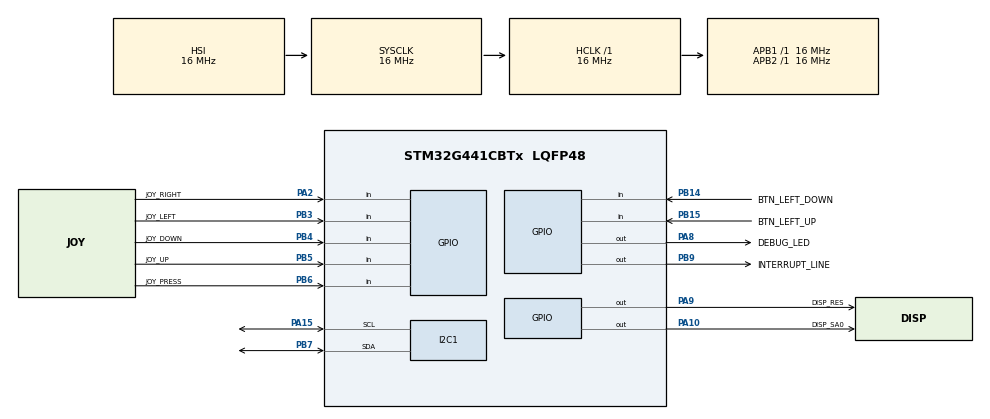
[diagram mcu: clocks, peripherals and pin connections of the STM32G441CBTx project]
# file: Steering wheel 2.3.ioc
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FREERTOS.BinarySemaphores01=ECU_ACK,Dynamic,NULL
FREERTOS.Queues01=ECUQueue,10,struct InputEvent,0,Dynamic,NULL,NULL
FREERTOS.Tasks01=Watchdog,0,128,StartWatchdog,Default,NULL,Dynamic,NULL,NULL;ECUTask,0,128,StartECUTask,Default,NULL,Dynamic,NULL,NULL;InputTask,0,128,StartInputTask,Default,NULL,Dynamic,NULL,NULL
I2C1.OwnAddress=0x20
Mcu.Family=STM32G4
Mcu.Name=STM32G441CBTx
Mcu.Package=LQFP48
NVIC.I2C1_ER_IRQn=true\:5\:0\:false\:false\:true\:true\:true\:true\:true
NVIC.I2C1_EV_IRQn=true\:5\:0\:false\:false\:true\:true\:true\:true\:true
NVIC.PriorityGroup=NVIC_PRIORITYGROUP_4
PA10.GPIO_Label=DISP_SA0
PA10.Signal=GPIO_Output
PA13.Mode=Serial_Wire
PA13.Signal=SYS_JTMS-SWDIO
PA14.Mode=Serial_Wire
PA14.Signal=SYS_JTCK-SWCLK
PA15.Mode=I2C
PA15.Signal=I2C1_SCL
PA2.GPIO_Label=JOY_RIGHT
PA2.Signal=GPIO_Input
PA8.GPIO_Label=DEBUG_LED
PA8.Signal=GPIO_Output
PA9.GPIO_Label=DISP_RES
PA9.Signal=GPIO_Output
PB14.GPIO_Label=BTN_LEFT_DOWN
PB14.Signal=GPIO_Input
PB15.GPIO_Label=BTN_LEFT_UP
PB15.Signal=GPIO_Input
PB3.GPIO_Label=JOY_LEFT
PB3.Signal=GPIO_Input
PB4.GPIO_Label=JOY_DOWN
PB4.Signal=GPIO_Input
PB5.GPIO_Label=JOY_UP
PB5.Signal=GPIO_Input
PB6.GPIO_Label=JOY_PRESS
PB6.Signal=GPIO_Input
PB7.Mode=I2C
PB7.Signal=I2C1_SDA
PB9.GPIO_Label=INTERRUPT_LINE
PB9.Signal=GPIO_Output
ProjectManager.HeapSize=0x200
ProjectManager.StackSize=0x400
ProjectManager.TargetToolchain=STM32CubeIDE
RCC.AHBFreq_Value=16000000
RCC.APB1Freq_Value=16000000
RCC.APB1TimFreq_Value=16000000
RCC.APB2Freq_Value=16000000
RCC.APB2TimFreq_Value=16000000
RCC.CortexFreq_Value=16000000
RCC.EXTERNAL_CLOCK_VALUE=12288000
RCC.HCLKFreq_Value=16000000
RCC.HSE_VALUE=8000000
RCC.HSI48_VALUE=48000000
RCC.HSI_VALUE=16000000
RCC.LSE_VALUE=32768
RCC.SYSCLKFreq_VALUE=16000000
RCC.USBFreq_Value=64000000
RCC.VCOOutputFreq_Value=128000000
VP_FREERTOS_VS_CMSIS_V1.Mode=CMSIS_V1
board=custom

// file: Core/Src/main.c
/* USER CODE BEGIN Header */
/**
 ******************************************************************************
 * @file           : main.c
 * @brief          : Main program body
 ******************************************************************************
 * @attention
 *
 * Copyright (c) 2023 STMicroelectronics.
 * All rights reserved.
 *
 * This software is licensed under terms that can be found in the LICENSE file
 * in the root directory of this software component.
 * If no LICENSE file comes with this software, it is provided AS-IS.
 *
 ******************************************************************************
 */
/* USER CODE END Header */
#include "main.h"
#include "cmsis_os.h"

/* USER CODE BEGIN Includes */
#include <stdio.h>
#include <string.h>
#include <stdbool.h>
/* USER CODE END Includes */

/* USER CODE BEGIN PD */
#define BUFFER_SIZE 2
#define DISPADDR   0x3C << 1
#define JOYSTICK_PRESS_NOT_WORKING 0
/* USER CODE END PD */

I2C_HandleTypeDef hi2c1;

osThreadId WatchdogHandle;
osThreadId ECUTaskHandle;
osThreadId InputTaskHandle;
osMessageQId ECUQueueHandle;
osSemaphoreId ECU_ACKHandle;
/* USER CODE BEGIN PV */
uint8_t dataBuffer[BUFFER_SIZE] = { 0x00, 0x00 };
uint8_t emptyBuffer[BUFFER_SIZE] = { 0x00, 0x00 };
uint8_t rxBuffer = 0;
volatile bool datawaiting = false;
uint32_t countsent = 0;
uint32_t countqueued = 0;

int rxcalls;
int txcalls;

struct InputEvent {
	uint8_t group;
	uint8_t button;
};

enum buttonGroups {
	noGroup = 0x00, JOY = 0x01, BTN = 0x02
};

/* USER CODE END PV */

void SystemClock_Config(void);
static void MX_GPIO_Init(void);
static void MX_I2C1_Init(void);
void StartWatchdog(void const *argument);
void StartECUTask(void const *argument);
void StartInputTask(void const *argument);

/* USER CODE BEGIN PFP */
void lcd_send_data(char data);
void lcd_send_cmd(char cmd);
void lcd_clear();
void lcd_string(char string[80]);
void lcd_init();
/* USER CODE END PFP */

int main(void) {

	/* MCU Configuration--------------------------------------------------------*/

	/* Reset of all peripherals, Initializes the Flash interface and the Systick. */
	HAL_Init();

	/* Configure the system clock */
	SystemClock_Config();

	/* Initialize all configured peripherals */
	MX_GPIO_Init();
	MX_I2C1_Init();

	/* Create the semaphores(s) */
	/* definition and creation of ECU_ACK */
	osSemaphoreDef(ECU_ACK);
	ECU_ACKHandle = osSemaphoreCreate(osSemaphore(ECU_ACK), 1);

	/* Create the queue(s) */
	/* definition and creation of ECUQueue */
	osMessageQDef(ECUQueue, 10, struct InputEvent);
	ECUQueueHandle = osMessageCreate(osMessageQ(ECUQueue), NULL);

	/* Create the thread(s) */
	/* definition and creation of Watchdog */
	osThreadDef(Watchdog, StartWatchdog, osPriorityNormal, 0, 128);
	WatchdogHandle = osThreadCreate(osThread(Watchdog), NULL);

	/* definition and creation of ECUTask */
	osThreadDef(ECUTask, StartECUTask, osPriorityNormal, 0, 128);
	ECUTaskHandle = osThreadCreate(osThread(ECUTask), NULL);

	/* definition and creation of InputTask */
	osThreadDef(InputTask, StartInputTask, osPriorityNormal, 0, 128);
	InputTaskHandle = osThreadCreate(osThread(InputTask), NULL);

	/* Start scheduler */
	osKernelStart();
	/* We should never get here as control is now taken by the scheduler */
	/* Infinite loop */
	while (1) {

	}
}

void SystemClock_Config(void) {
	RCC_OscInitTypeDef RCC_OscInitStruct = { 0 };
	RCC_ClkInitTypeDef RCC_ClkInitStruct = { 0 };

	/** Configure the main internal regulator output voltage
	 */
	HAL_PWREx_ControlVoltageScaling(PWR_REGULATOR_VOLTAGE_SCALE1);

	/** Initializes the RCC Oscillators according to the specified parameters
	 * in the RCC_OscInitTypeDef structure.
	 */
	RCC_OscInitStruct.OscillatorType = RCC_OSCILLATORTYPE_HSI;
	RCC_OscInitStruct.HSIState = RCC_HSI_ON;
	RCC_OscInitStruct.HSICalibrationValue = RCC_HSICALIBRATION_DEFAULT;
	RCC_OscInitStruct.PLL.PLLState = RCC_PLL_NONE;
	if (HAL_RCC_OscConfig(&RCC_OscInitStruct) != HAL_OK) {
		Error_Handler();
	}

	/** Initializes the CPU, AHB and APB buses clocks
	 */
	RCC_ClkInitStruct.ClockType = RCC_CLOCKTYPE_HCLK | RCC_CLOCKTYPE_SYSCLK
			| RCC_CLOCKTYPE_PCLK1 | RCC_CLOCKTYPE_PCLK2;
	RCC_ClkInitStruct.SYSCLKSource = RCC_SYSCLKSOURCE_HSI;
	RCC_ClkInitStruct.AHBCLKDivider = RCC_SYSCLK_DIV1;
	RCC_ClkInitStruct.APB1CLKDivider = RCC_HCLK_DIV1;
	RCC_ClkInitStruct.APB2CLKDivider = RCC_HCLK_DIV1;

	if (HAL_RCC_ClockConfig(&RCC_ClkInitStruct, FLASH_LATENCY_0) != HAL_OK) {
		Error_Handler();
	}
}

static void MX_I2C1_Init(void) {

	hi2c1.Instance = I2C1;
	hi2c1.Init.Timing = 0x00303D5B;
	hi2c1.Init.OwnAddress1 = 64;
	hi2c1.Init.AddressingMode = I2C_ADDRESSINGMODE_7BIT;
	hi2c1.Init.DualAddressMode = I2C_DUALADDRESS_DISABLE;
	hi2c1.Init.OwnAddress2 = 0;
	hi2c1.Init.OwnAddress2Masks = I2C_OA2_NOMASK;
	hi2c1.Init.GeneralCallMode = I2C_GENERALCALL_DISABLE;
	hi2c1.Init.NoStretchMode = I2C_NOSTRETCH_DISABLE;
	if (HAL_I2C_Init(&hi2c1) != HAL_OK) {
		Error_Handler();
	}

	/** Configure Analogue filter
	 */
	if (HAL_I2CEx_ConfigAnalogFilter(&hi2c1, I2C_ANALOGFILTER_ENABLE)
			!= HAL_OK) {
		Error_Handler();
	}

	/** Configure Digital filter
	 */
	if (HAL_I2CEx_ConfigDigitalFilter(&hi2c1, 0) != HAL_OK) {
		Error_Handler();
	}

}

static void MX_GPIO_Init(void) {
	GPIO_InitTypeDef GPIO_InitStruct = { 0 };

	/* GPIO Ports Clock Enable */
	__HAL_RCC_GPIOA_CLK_ENABLE();
	__HAL_RCC_GPIOB_CLK_ENABLE();

	/*Configure GPIO pin Output Level */
	HAL_GPIO_WritePin(GPIOA, DEBUG_LED_Pin | DISP_RES_Pin | DISP_SA0_Pin,
			GPIO_PIN_RESET);

	/*Configure GPIO pin Output Level */
	HAL_GPIO_WritePin(INTERRUPT_LINE_GPIO_Port, INTERRUPT_LINE_Pin,
			GPIO_PIN_RESET);

	/*Configure GPIO pin : JOY_RIGHT_Pin */
	GPIO_InitStruct.Pin = JOY_RIGHT_Pin;
	GPIO_InitStruct.Mode = GPIO_MODE_INPUT;
	GPIO_InitStruct.Pull = GPIO_NOPULL;
	HAL_GPIO_Init(JOY_RIGHT_GPIO_Port, &GPIO_InitStruct);

	/*Configure GPIO pins : BTN_LEFT_DOWN_Pin BTN_LEFT_UP_Pin JOY_LEFT_Pin JOY_DOWN_Pin
	 JOY_UP_Pin JOY_PRESS_Pin */
	GPIO_InitStruct.Pin = BTN_LEFT_DOWN_Pin | BTN_LEFT_UP_Pin | JOY_LEFT_Pin
			| JOY_DOWN_Pin | JOY_UP_Pin | JOY_PRESS_Pin;
	GPIO_InitStruct.Mode = GPIO_MODE_INPUT;
	GPIO_InitStruct.Pull = GPIO_NOPULL;
	HAL_GPIO_Init(GPIOB, &GPIO_InitStruct);

	/*Configure GPIO pins : DEBUG_LED_Pin DISP_RES_Pin DISP_SA0_Pin */
	GPIO_InitStruct.Pin = DEBUG_LED_Pin | DISP_RES_Pin | DISP_SA0_Pin;
	GPIO_InitStruct.Mode = GPIO_MODE_OUTPUT_PP;
	GPIO_InitStruct.Pull = GPIO_NOPULL;
	GPIO_InitStruct.Speed = GPIO_SPEED_FREQ_LOW;
	HAL_GPIO_Init(GPIOA, &GPIO_InitStruct);

	/*Configure GPIO pin : INTERRUPT_LINE_Pin */
	GPIO_InitStruct.Pin = INTERRUPT_LINE_Pin;
	GPIO_InitStruct.Mode = GPIO_MODE_OUTPUT_PP;
	GPIO_InitStruct.Pull = GPIO_NOPULL;
	GPIO_InitStruct.Speed = GPIO_SPEED_FREQ_LOW;
	HAL_GPIO_Init(INTERRUPT_LINE_GPIO_Port, &GPIO_InitStruct);

}

/* USER CODE BEGIN 4 */
void lcd_send_data(char data) {
	uint8_t data_t[] = { 0x40, data };
	HAL_StatusTypeDef status;
	status = HAL_I2C_Master_Transmit(&hi2c1, DISPADDR, data_t, sizeof(data_t),
	HAL_MAX_DELAY);
	if (status == HAL_OK) {
		return;
	} else {
		return;
		// error handling
	}
}

void lcd_send_cmd(char cmd) {
	uint8_t data_t[] = { 0x80, cmd };
	HAL_StatusTypeDef status;
	status = HAL_I2C_Master_Transmit(&hi2c1, DISPADDR, data_t, sizeof(data_t),
	HAL_MAX_DELAY);

	if (status == HAL_OK) {
		return;
	} else {
		// error handling
	}
}

void lcd_clear() {
	lcd_send_cmd(0x01); // clear display
	lcd_send_cmd(0x80); // set DDRAM address to 0x00}
}

void lcd_string(char string[80]) {
	uint8_t length = strlen(string);
	for (uint8_t i = 0; i < length; i++) {
		lcd_send_data(string[i]);
	}
}

void lcd_init() {
	// make sure that RES and SA0 pins are named correctly
	HAL_GPIO_WritePin(DISP_RES_GPIO_Port, DISP_RES_Pin, GPIO_PIN_SET);
	HAL_GPIO_WritePin(DISP_SA0_GPIO_Port, DISP_SA0_Pin, GPIO_PIN_RESET);
#if 0
	lcd_send_cmd(0x2A);  // function set (extended command set)
	lcd_send_cmd(0x71);  // function selection A
	lcd_send_data(0x00); // disable internal VDD regulator (2.8V I/O). data(0x5C) = enable regulator (5V I/O)
	lcd_send_cmd(0x28);  // function set (fundamental command set)
	// not turning display off means it doesn't blink on re-init, so is silent error.
	// lcd_send_cmd(0x08); //display off, cursor off, blink off
	lcd_send_cmd(0x2A);  // function set (extended command set)
	lcd_send_cmd(0x79);  // OLED command set enabled
	lcd_send_cmd(0xD5);  // set display clock divide ratio/oscillator frequency
	lcd_send_cmd(0x70);  // set display clock divide ratio/oscillator frequency
	lcd_send_cmd(0x78);  // OLED command set disabled
	lcd_send_cmd(0x09);  // extended function set (4-lines)
	lcd_send_cmd(0x06);  // COM SEG direction
	lcd_send_cmd(0x72);  // function selection B
	lcd_send_data(0x00); // ROM CGRAM selection
	lcd_send_cmd(0x2A);  // function set (extended command set)
	lcd_send_cmd(0x79);  // OLED command set enabled
	lcd_send_cmd(0xDA);  // set SEG pins hardware configuration
	lcd_send_cmd(0x10);  // set SEG pins hardware configuration
	lcd_send_cmd(0xDC);  // function selection C
	lcd_send_cmd(0x00);  // function selection C
	lcd_send_cmd(0x81);  // set contrast control
	lcd_send_cmd(0x7F);  // set contrast control
	lcd_send_cmd(0xD9);  // set phase length
	lcd_send_cmd(0xF1);  // set phase length
	lcd_send_cmd(0xDB);  // set VCOMH deselect level
	lcd_send_cmd(0x40);  // set VCOMH deselect level
	lcd_send_cmd(0x78);  // OLED command set disabled
	lcd_send_cmd(0x28);  // function set (fundamental command set)
	// don't clear display, w're writing the whole thing anyway
	lcd_send_cmd(0x01); // clear display
	lcd_send_cmd(0x80); // set DDRAM address to 0x00
	lcd_send_cmd(0x0C); // display ON
#endif
}

/********************************************************
 * I2C functions
 ********************************************************/
void HAL_I2C_SlaveRxCpltCallback(I2C_HandleTypeDef *hi2c) {
	rxcalls++;
	__HAL_I2C_GENERATE_NACK(hi2c);
}

void HAL_I2C_ErrorCallback(I2C_HandleTypeDef *hi2c) {
	if (HAL_I2C_EnableListen_IT(&hi2c1) != HAL_OK) {
		/* Transfer error in reception process */
		Error_Handler();
	}
}

void HAL_I2C_ListenCpltCallback(I2C_HandleTypeDef *hi2c) {
	if (HAL_I2C_EnableListen_IT(&hi2c1) != HAL_OK) {
		/* Transfer error in reception process */
		Error_Handler();
	}
}

void HAL_I2C_AddrCallback(I2C_HandleTypeDef *hi2c, uint8_t TransferDirection,
		uint16_t AddrMatchCode) {
	if (TransferDirection == I2C_DIRECTION_RECEIVE) {
		//HAL_GPIO_WritePin(INT_GPIO_Port, INT_Pin, GPIO_PIN_RESET);
		if (datawaiting) {
			countsent++;
			datawaiting = false;
			if (HAL_I2C_Slave_Seq_Transmit_IT(&hi2c1, dataBuffer, 2,
			I2C_FIRST_FRAME) != HAL_OK) {
				/* Transfer error in reception process */
				Error_Handler();
			}
		} else if (HAL_I2C_Slave_Seq_Transmit_IT(&hi2c1, emptyBuffer, 2,
		I2C_FIRST_FRAME) != HAL_OK) {
			/* Transfer error in reception process */
			Error_Handler();
		}

	} else {
		if (HAL_I2C_Slave_Seq_Receive_IT(&hi2c1, &rxBuffer, 1, I2C_FIRST_FRAME)
				!= HAL_OK) {
			Error_Handler();
		}
	}
}

void HAL_I2C_SlaveTxCpltCallback(I2C_HandleTypeDef *hi2c) {
	BaseType_t xHigherPriorityTaskWoken = pdFALSE;
	txcalls++;
	xSemaphoreGiveFromISR(ECU_ACKHandle, &xHigherPriorityTaskWoken);
	portYIELD_FROM_ISR(xHigherPriorityTaskWoken);
}

/********************************************************
 * Input checking functions
 ********************************************************/
#if JOYSTICK_PRESS_NOT_WORKING
/**
 * If joytick's press input not working, hold any direction for amount of TickType_t timeout ticks
 * to mimick the press
 */
struct InputEvent checkJoystick() {
	struct InputEvent e;
	TickType_t timeout = 3000;
	TickType_t startTime = xTaskGetTickCount();
	if (HAL_GPIO_ReadPin(JOY_UP_GPIO_Port, JOY_UP_Pin) == GPIO_PIN_RESET) {
		while (HAL_GPIO_ReadPin(JOY_UP_GPIO_Port, JOY_UP_Pin) == GPIO_PIN_RESET) {
			vTaskDelay(10);
		}
		if ((xTaskGetTickCount() - startTime) > timeout) {
			e.button = 0x05;
			e.group = JOY;
		} else {
			e.button = 0x01;
			e.group = JOY;
		}

	} else if (HAL_GPIO_ReadPin(JOY_RIGHT_GPIO_Port, JOY_RIGHT_Pin)
			== GPIO_PIN_RESET) {
		while (HAL_GPIO_ReadPin(JOY_RIGHT_GPIO_Port, JOY_RIGHT_Pin)
				== GPIO_PIN_RESET) {
			vTaskDelay(10);
		}
		if ((xTaskGetTickCount() - startTime) > timeout) {
			e.button = 0x05;
			e.group = JOY;
		} else {
			e.button = 0x02;
			e.group = JOY;
		}

	} else if (HAL_GPIO_ReadPin(JOY_DOWN_GPIO_Port, JOY_DOWN_Pin)
			== GPIO_PIN_RESET) {
		while (HAL_GPIO_ReadPin(JOY_DOWN_GPIO_Port, JOY_DOWN_Pin)
				== GPIO_PIN_RESET) {
			vTaskDelay(10);
		}
		if ((xTaskGetTickCount() - startTime) > timeout) {
			e.button = 0x05;
			e.group = JOY;
		} else {
			e.button = 0x03;
			e.group = JOY;
		}

	} else if (HAL_GPIO_ReadPin(JOY_LEFT_GPIO_Port, JOY_LEFT_Pin)
			== GPIO_PIN_RESET) {
		while (HAL_GPIO_ReadPin(JOY_LEFT_GPIO_Port, JOY_LEFT_Pin)
				== GPIO_PIN_RESET) {
			vTaskDelay(10);
		}
		if ((xTaskGetTickCount() - startTime) > timeout) {
			e.button = 0x05;
			e.group = JOY;
		} else {
			e.button = 0x04;
			e.group = JOY;
		}

	} else {
		e.button = 0x00;
		e.group = noGroup;
	}
	return e;
}
#else
struct InputEvent checkJoystick() {
	struct InputEvent e;
	if (HAL_GPIO_ReadPin(JOY_UP_GPIO_Port, JOY_UP_Pin) == GPIO_PIN_RESET) {
		while (HAL_GPIO_ReadPin(JOY_UP_GPIO_Port, JOY_UP_Pin) == GPIO_PIN_RESET) {
			vTaskDelay(30);
		}
		e.button = 0x01;
		e.group = JOY;

	} else if (HAL_GPIO_ReadPin(JOY_RIGHT_GPIO_Port, JOY_RIGHT_Pin)
			== GPIO_PIN_RESET) {
		while (HAL_GPIO_ReadPin(JOY_RIGHT_GPIO_Port, JOY_RIGHT_Pin)
				== GPIO_PIN_RESET) {
			vTaskDelay(30);
		}
		e.button = 0x02;
		e.group = JOY;

	} else if (HAL_GPIO_ReadPin(JOY_DOWN_GPIO_Port, JOY_DOWN_Pin)
			== GPIO_PIN_RESET) {
		while (HAL_GPIO_ReadPin(JOY_DOWN_GPIO_Port, JOY_DOWN_Pin)
				== GPIO_PIN_RESET) {
			vTaskDelay(30);
		}
		e.button = 0x03;
		e.group = JOY;

	} else if (HAL_GPIO_ReadPin(JOY_LEFT_GPIO_Port, JOY_LEFT_Pin)
			== GPIO_PIN_RESET) {
		while (HAL_GPIO_ReadPin(JOY_LEFT_GPIO_Port, JOY_LEFT_Pin)
				== GPIO_PIN_RESET) {
			vTaskDelay(30);
		}
		e.button = 0x04;
		e.group = JOY;

	} else if (HAL_GPIO_ReadPin(JOY_PRESS_GPIO_Port, JOY_PRESS_Pin)
			== GPIO_PIN_RESET) {

		while (HAL_GPIO_ReadPin(JOY_PRESS_GPIO_Port, JOY_PRESS_Pin)
				== GPIO_PIN_RESET) {
			vTaskDelay(30);
		}
		e.button = 0x05;
		e.group = JOY;

	} else {
		e.button = 0x00;
		e.group = noGroup;
	}
	return e;
}
#endif

/********************************************************
 * Tasks
 ********************************************************/
/* USER CODE END 4 */

void StartWatchdog(void const *argument) {
	/* USER CODE BEGIN 5 */
	lcd_init();
	UBaseType_t queueLength = 0;

	for (;;) {
		HAL_GPIO_TogglePin(DEBUG_LED_GPIO_Port, DEBUG_LED_Pin);
		queueLength = uxQueueMessagesWaiting(ECUQueueHandle);
		if (queueLength > 0) {
			osDelay(200);
		} else {
			osDelay(1000);
		}
	}
	/* USER CODE END 5 */
}

void StartECUTask(void const *argument) {
	/* USER CODE BEGIN StartECUTask */
	/* Infinite loop */
		HAL_GPIO_WritePin(INTERRUPT_LINE_GPIO_Port, INTERRUPT_LINE_Pin,
				GPIO_PIN_RESET);
		struct InputEvent e;

		char message[64];
		for (;;) {
			if (xQueueReceive(ECUQueueHandle, &e, 10) == pdPASS) {
				dataBuffer[0] = e.group;
				dataBuffer[1] = e.button;
				sprintf(message, "\n\rSending: %d %d", dataBuffer[0],
						dataBuffer[1]);

				countqueued++;
				xSemaphoreTake(ECU_ACKHandle, 0); // taking unnecessary semaphores if there is any

				HAL_I2C_EnableListen_IT(&hi2c1);
				HAL_GPIO_WritePin(INTERRUPT_LINE_GPIO_Port, INTERRUPT_LINE_Pin,
						GPIO_PIN_SET);
				datawaiting = true;

				if (xSemaphoreTake(ECU_ACKHandle, 100) == pdFALSE) {
					// reset i2c if no ack backs
					datawaiting = false;
					xQueueReset(ECUQueueHandle);
				}

				dataBuffer[0] = 0;
				dataBuffer[1] = 0;
			} else {
				HAL_GPIO_WritePin(INTERRUPT_LINE_GPIO_Port, INTERRUPT_LINE_Pin,
						GPIO_PIN_RESET);
			}
		}
	/* USER CODE END StartECUTask */
}

void StartInputTask(void const *argument) {
	/* USER CODE BEGIN StartInputTask */
	struct InputEvent input;
	input.group = 0x00;
	input.button = 0x00;

	/* Infinite loop */
	for (;;) {

		input = checkJoystick();
		if (input.group != noGroup) {
			xQueueSend(ECUQueueHandle, (void* ) &input, (TickType_t ) 0);
		}
		osDelay(50);
	}
	/* USER CODE END StartInputTask */
}

void Error_Handler(void) {
	__disable_irq();
	while (1) {
	}
}
